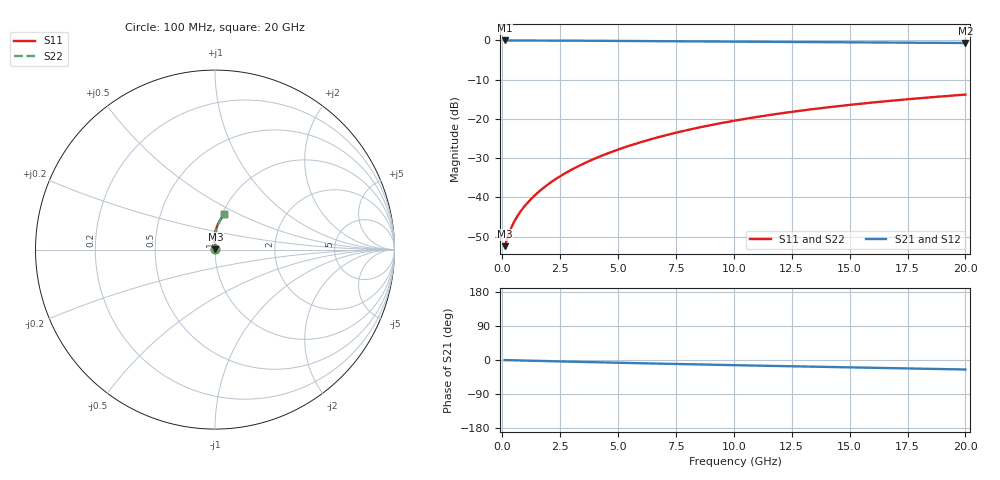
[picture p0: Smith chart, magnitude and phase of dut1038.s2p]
! Touchstone file exported from HFSS 2024.1.0
!  File:  C:/UserFiles/LocalFiles/RDL_TSV_Batchsim/temp_RDL_bottom_1038_1780051432.aedt
!  Generated:  06:45:59 PM May 29, 2026
!  Design:  RDL_bottom
!  Project:  temp_RDL_bottom_1038_1780051432
!  Setup:  Setup1
!  Solution:  Sweep
! Variables:
!  dtsv = 10.80580581um
!  hbump = 3um
!  htsv = 63.98um
!  ldown = 371.63um
!  lrdl = 100um
!  p = 40
!  p1 = 45.14um
!  rhole = 1um
!  t = 450um
!  tdown = 2.54um
!  trdl = 3.915915916um
!  wdown = 27.99um
!  wrdl = 20um
# GHz S MA R 50.000000
! Terminal data exported
! Port[1] = RDL1_T1
! Port[2] = RDL1_T2
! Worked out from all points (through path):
!   200 points, 100 MHz to 20 GHz, reference 50 ohm
!   highest |S21| = -0.02 dB at 100 MHz (marker M1); lowest = -0.7 dB at 20 GHz (marker M2)
!   group delay of S21, straight-line fit = 3.43 ps
!   lowest |S11| = -52.4 dB at 100 MHz (marker M3), VSWR 1.00, Z = 50.2 + j0.0909 ohm
!   |S11| at or under -10 dB: start of sweep to end of sweep
!   |S22| runs from -52.4 to -13.8 dB; largest |S21 - S12| = 5.3e-15
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0.1  0.002385 22.3  0.9978 -0.2  0.9978 -0.2  0.002385 22.3
! Gamma 0 0 0 0
! Port Impedance 50 0 50 0
0.3  0.003531 46.6  0.9975 -0.5  0.9975 -0.5  0.003531 46.6
0.4  0.004174 52.6  0.9973 -0.6  0.9973 -0.6  0.004174 52.6
0.5  0.004807 57.0  0.9971 -0.8  0.9971 -0.8  0.004807 57.0
0.6  0.005431 60.4  0.997 -0.9  0.997 -0.9  0.005431 60.4
0.8  0.006675 65.9  0.9967 -1.2  0.9967 -1.2  0.006675 65.9
1  0.00794 70.2  0.9964 -1.5  0.9964 -1.5  0.00794 70.2
1.2  0.009239 73.6  0.9961 -1.8  0.9961 -1.8  0.009239 73.6
1.7  0.01265 79.8  0.9952 -2.6  0.9952 -2.6  0.01265 79.8
2.2  0.01629 83.9  0.9941 -3.3  0.9941 -3.3  0.01629 83.9
2.8  0.02095 87.2  0.9925 -4.2  0.9925 -4.2  0.02095 87.2
3.5  0.02677 89.8  0.9903 -5.2  0.9903 -5.2  0.02677 89.8
4.2  0.03301 91.4  0.9878 -6.2  0.9878 -6.2  0.03301 91.4
5  0.04058 92.4  0.9846 -7.3  0.9846 -7.3  0.04058 92.4
5.9  0.0496 92.8  0.9809 -8.5  0.9809 -8.5  0.0496 92.8
6.8  0.05904 92.6  0.9771 -9.6  0.9771 -9.6  0.05904 92.6
8.4  0.07653 91.4  0.9702 -11.7  0.9702 -11.7  0.07653 91.3
10.1  0.09564 89.3  0.9631 -13.7  0.9631 -13.7  0.09564 89.3
11.7  0.1138 87.1  0.9567 -15.6  0.9567 -15.6  0.1138 87.1
13.4  0.1329 84.6  0.9501 -17.6  0.9501 -17.6  0.1329 84.6
16.7  0.1691 79.8  0.9379 -21.4  0.9379 -21.4  0.1691 79.7
20  0.2038 75.1  0.926 -25.0  0.926 -25.0  0.2038 75.1
